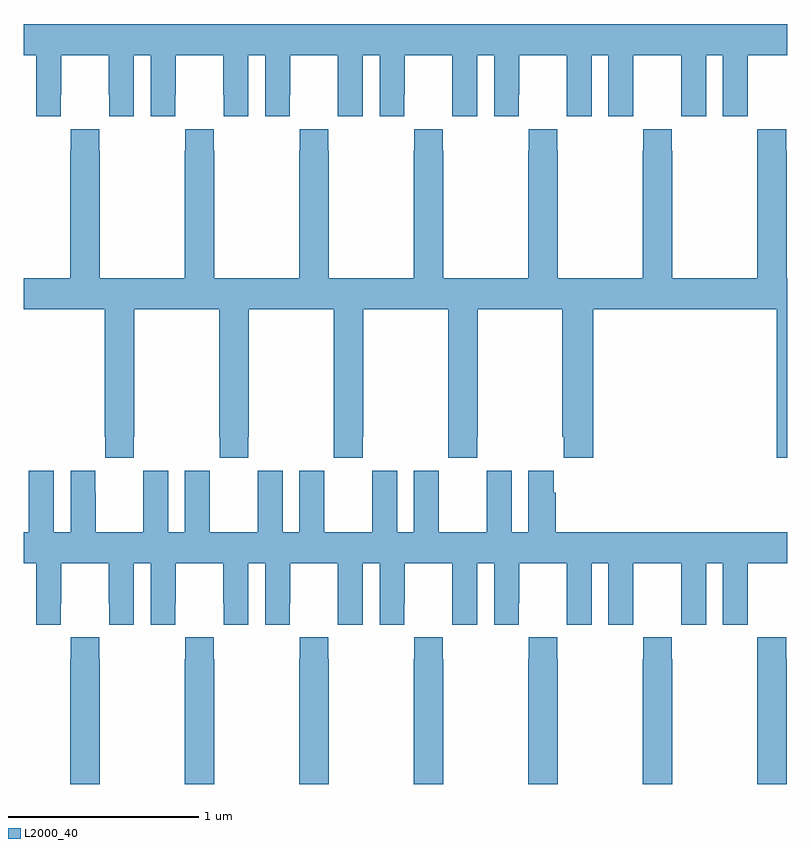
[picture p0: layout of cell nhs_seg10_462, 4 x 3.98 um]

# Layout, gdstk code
import gdstk
lib = gdstk.Library(unit=1e-6, precision=1e-09)
def P(c, l, *ps):  # polygons
    for p in ps: c.add(gdstk.Polygon(p, *l))
L2000_40 = (2000, 40)

nhs_seg10_462 = lib.new_cell('nhs_seg10_462')
P(nhs_seg10_462, L2000_40, [(133,1296.32),(133.064,1296.32),(133.064,1296),(133.194,1296),(133.194,1296.112),(133.195,1296.112),(133.195,1296.32),(133.445,1296.32),(133.445,1296.112),(133.446,1296.112),(133.446,1296),(133.576,1296),(133.576,1296.32),(133.664,1296.32),(133.664,1296),(133.794,1296),(133.794,1296.112),(133.795,1296.112),(133.795,1296.32),(134.045,1296.32),(134.045,1296.112),(134.046,1296.112),(134.046,1296),(134.176,1296),(134.176,1296.32),(134.264,1296.32),(134.264,1296),(134.394,1296),(134.394,1296.112),(134.395,1296.112),(134.395,1296.32),(134.645,1296.32),(134.645,1296.112),(134.646,1296.112),(134.646,1296),(134.776,1296),(134.776,1296.32),(134.864,1296.32),(134.864,1296),(134.994,1296),(134.994,1296.112),(134.995,1296.112),(134.995,1296.32),(135.245,1296.32),(135.245,1296.112),(135.246,1296.112),(135.246,1296),(135.376,1296),(135.376,1296.32),(135.464,1296.32),(135.464,1296),(135.594,1296),(135.594,1296.112),(135.595,1296.112),(135.595,1296.32),(135.845,1296.32),(135.845,1296.112),(135.846,1296.112),(135.846,1296),(135.976,1296),(135.976,1296.32),(136.064,1296.32),(136.064,1296),(136.194,1296),(136.194,1296.112),(136.195,1296.112),(136.195,1296.32),(136.445,1296.32),(136.445,1296.112),(136.446,1296.112),(136.446,1296),(136.576,1296),(136.576,1296.32),(136.664,1296.32),(136.664,1296),(136.794,1296),(136.794,1296.112),(136.795,1296.112),(136.795,1296.32),(137,1296.32),(137,1296.484),(133,1296.484)],
  [(135.045,1295.932),(135.045,1295.819),(135.043,1295.819),(135.043,1295.152),(134.598,1295.152),(134.598,1295.819),(134.595,1295.819),(134.595,1295.932),(134.445,1295.932),(134.445,1295.819),(134.443,1295.819),(134.443,1295.152),(133.998,1295.152),(133.998,1295.819),(133.995,1295.819),(133.995,1295.932),(133.845,1295.932),(133.845,1295.819),(133.843,1295.819),(133.843,1295.152),(133.398,1295.152),(133.398,1295.819),(133.395,1295.819),(133.395,1295.932),(133.245,1295.932),(133.245,1295.819),(133.243,1295.819),(133.243,1295.152),(133,1295.152),(133,1294.988),(133.423,1294.988),(133.423,1294.321),(133.425,1294.321),(133.425,1294.209),(133.575,1294.209),(133.575,1294.321),(133.578,1294.321),(133.578,1294.988),(134.023,1294.988),(134.023,1294.321),(134.025,1294.321),(134.025,1294.209),(134.175,1294.209),(134.175,1294.321),(134.178,1294.321),(134.178,1294.988),(134.623,1294.988),(134.623,1294.321),(134.625,1294.321),(134.625,1294.209),(134.775,1294.209),(134.775,1294.321),(134.778,1294.321),(134.778,1294.988),(135.223,1294.988),(135.223,1294.321),(135.225,1294.321),(135.225,1294.209),(135.375,1294.209),(135.375,1294.321),(135.378,1294.321),(135.378,1294.988),(135.823,1294.988),(135.823,1294.321),(135.829,1294.321),(135.829,1294.209),(135.983,1294.209),(135.983,1294.988),(136.946,1294.988),(136.946,1294.209),(137,1294.209),(137,1295.152),(136.998,1295.152),(136.998,1295.819),(136.995,1295.819),(136.995,1295.932),(136.845,1295.932),(136.845,1295.819),(136.843,1295.819),(136.843,1295.152),(136.398,1295.152),(136.398,1295.819),(136.395,1295.819),(136.395,1295.932),(136.245,1295.932),(136.245,1295.819),(136.243,1295.819),(136.243,1295.152),(135.798,1295.152),(135.798,1295.819),(135.795,1295.819),(135.795,1295.932),(135.645,1295.932),(135.645,1295.819),(135.643,1295.819),(135.643,1295.152),(135.198,1295.152),(135.198,1295.819),(135.195,1295.819),(135.195,1295.932)],
  [(133.844,1294.141),(133.844,1293.82),(133.756,1293.82),(133.756,1294.141),(133.626,1294.141),(133.626,1294.028),(133.625,1294.028),(133.625,1293.82),(133.375,1293.82),(133.375,1294.028),(133.374,1294.028),(133.374,1294.141),(133.244,1294.141),(133.244,1293.82),(133.156,1293.82),(133.156,1294.141),(133.026,1294.141),(133.026,1294.028),(133.025,1294.028),(133.025,1293.82),(133,1293.82),(133,1293.656),(133.064,1293.656),(133.064,1293.336),(133.194,1293.336),(133.194,1293.448),(133.195,1293.448),(133.195,1293.656),(133.445,1293.656),(133.445,1293.448),(133.446,1293.448),(133.446,1293.336),(133.576,1293.336),(133.576,1293.656),(133.664,1293.656),(133.664,1293.336),(133.794,1293.336),(133.794,1293.448),(133.795,1293.448),(133.795,1293.656),(134.045,1293.656),(134.045,1293.448),(134.046,1293.448),(134.046,1293.336),(134.176,1293.336),(134.176,1293.656),(134.264,1293.656),(134.264,1293.336),(134.394,1293.336),(134.394,1293.448),(134.395,1293.448),(134.395,1293.656),(134.645,1293.656),(134.645,1293.448),(134.646,1293.448),(134.646,1293.336),(134.776,1293.336),(134.776,1293.656),(134.864,1293.656),(134.864,1293.336),(134.994,1293.336),(134.994,1293.448),(134.995,1293.448),(134.995,1293.656),(135.245,1293.656),(135.245,1293.448),(135.246,1293.448),(135.246,1293.336),(135.376,1293.336),(135.376,1293.656),(135.464,1293.656),(135.464,1293.336),(135.594,1293.336),(135.594,1293.448),(135.595,1293.448),(135.595,1293.656),(135.845,1293.656),(135.845,1293.448),(135.846,1293.448),(135.846,1293.336),(135.976,1293.336),(135.976,1293.656),(136.064,1293.656),(136.064,1293.336),(136.194,1293.336),(136.194,1293.448),(136.195,1293.448),(136.195,1293.656),(136.445,1293.656),(136.445,1293.448),(136.446,1293.448),(136.446,1293.336),(136.576,1293.336),(136.576,1293.656),(136.664,1293.656),(136.664,1293.336),(136.794,1293.336),(136.794,1293.448),(136.795,1293.448),(136.795,1293.656),(137,1293.656),(137,1293.82),(135.788,1293.82),(135.788,1294.028),(135.778,1294.028),(135.778,1294.141),(135.644,1294.141),(135.644,1293.82),(135.556,1293.82),(135.556,1294.141),(135.426,1294.141),(135.426,1294.028),(135.425,1294.028),(135.425,1293.82),(135.175,1293.82),(135.175,1294.028),(135.174,1294.028),(135.174,1294.141),(135.044,1294.141),(135.044,1293.82),(134.956,1293.82),(134.956,1294.141),(134.826,1294.141),(134.826,1294.028),(134.825,1294.028),(134.825,1293.82),(134.575,1293.82),(134.575,1294.028),(134.574,1294.028),(134.574,1294.141),(134.444,1294.141),(134.444,1293.82),(134.356,1293.82),(134.356,1294.141),(134.226,1294.141),(134.226,1294.028),(134.225,1294.028),(134.225,1293.82),(133.975,1293.82),(133.975,1294.028),(133.974,1294.028),(133.974,1294.141)],
  [(135.798,1293.155),(135.795,1293.155),(135.795,1293.268),(135.645,1293.268),(135.645,1293.155),(135.643,1293.155),(135.643,1292.5),(135.798,1292.5)],
  [(136.998,1293.155),(136.995,1293.155),(136.995,1293.268),(136.845,1293.268),(136.845,1293.155),(136.843,1293.155),(136.843,1292.5),(136.998,1292.5)],
  [(136.398,1293.155),(136.395,1293.155),(136.395,1293.268),(136.245,1293.268),(136.245,1293.155),(136.243,1293.155),(136.243,1292.5),(136.398,1292.5)],
  [(133.398,1293.155),(133.395,1293.155),(133.395,1293.268),(133.245,1293.268),(133.245,1293.155),(133.243,1293.155),(133.243,1292.5),(133.398,1292.5)],
  [(135.198,1293.155),(135.195,1293.155),(135.195,1293.268),(135.045,1293.268),(135.045,1293.155),(135.043,1293.155),(135.043,1292.5),(135.198,1292.5)],
  [(134.598,1293.155),(134.595,1293.155),(134.595,1293.268),(134.445,1293.268),(134.445,1293.155),(134.443,1293.155),(134.443,1292.5),(134.598,1292.5)],
  [(133.998,1293.155),(133.995,1293.155),(133.995,1293.268),(133.845,1293.268),(133.845,1293.155),(133.843,1293.155),(133.843,1292.5),(133.998,1292.5)])

lib.write_gds('nhs_seg10_462.gds')
